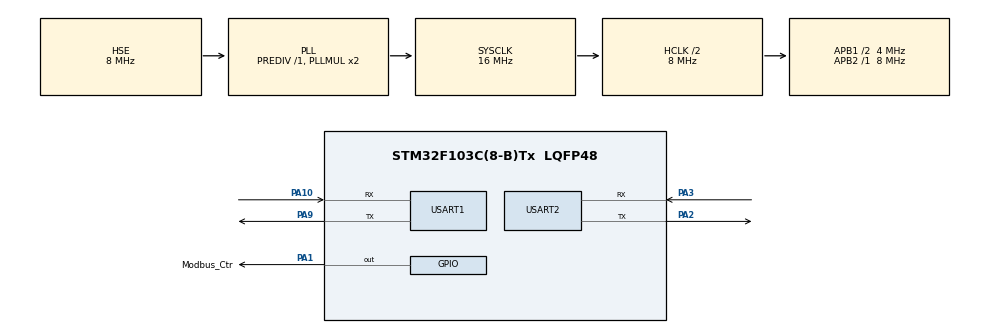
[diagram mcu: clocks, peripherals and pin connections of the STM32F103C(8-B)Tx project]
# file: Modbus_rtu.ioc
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Mcu.Family=STM32F1
Mcu.Name=STM32F103C(8-B)Tx
Mcu.Package=LQFP48
NVIC.PriorityGroup=NVIC_PRIORITYGROUP_4
NVIC.USART2_IRQn=true\:0\:0\:false\:false\:true\:true\:true
PA1.GPIO_Label=Modbus_Ctr
PA1.Signal=GPIO_Output
PA10.Mode=Asynchronous
PA10.Signal=USART1_RX
PA13.Mode=Serial_Wire
PA13.Signal=SYS_JTMS-SWDIO
PA14.Mode=Serial_Wire
PA14.Signal=SYS_JTCK-SWCLK
PA2.Mode=Asynchronous
PA2.Signal=USART2_TX
PA3.Mode=Asynchronous
PA3.Signal=USART2_RX
PA9.Mode=Asynchronous
PA9.Signal=USART1_TX
PD0-OSC_IN.Mode=HSE-External-Oscillator
PD0-OSC_IN.Signal=RCC_OSC_IN
PD1-OSC_OUT.Mode=HSE-External-Oscillator
PD1-OSC_OUT.Signal=RCC_OSC_OUT
ProjectManager.HeapSize=0x200
ProjectManager.StackSize=0x400
ProjectManager.TargetToolchain=STM32CubeIDE
RCC.AHBCLKDivider=RCC_SYSCLK_DIV2
RCC.AHBFreq_Value=8000000
RCC.APB1CLKDivider=RCC_HCLK_DIV2
RCC.APB1Freq_Value=4000000
RCC.APB1TimFreq_Value=8000000
RCC.APB2Freq_Value=8000000
RCC.APB2TimFreq_Value=8000000
RCC.HCLKFreq_Value=8000000
RCC.PLLSourceVirtual=RCC_PLLSOURCE_HSE
RCC.SYSCLKFreq_VALUE=16000000
RCC.SYSCLKSource=RCC_SYSCLKSOURCE_PLLCLK
RCC.USBFreq_Value=16000000
USART1.VirtualMode=VM_ASYNC
USART2.VirtualMode=VM_ASYNC
board=custom

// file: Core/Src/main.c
/* USER CODE BEGIN Header */
/**
  ******************************************************************************
  * @file           : main.c
  * @brief          : Main program body
  ******************************************************************************
  * @attention
  *
  * Copyright (c) 2022 STMicroelectronics.
  * All rights reserved.
  *
  * This software is licensed under terms that can be found in the LICENSE file
  * in the root directory of this software component.
  * If no LICENSE file comes with this software, it is provided AS-IS.
  *
  ******************************************************************************
  */
/* USER CODE END Header */
#include "main.h"

/* USER CODE BEGIN Includes */
#include "modbus_rtu.h"
#include "RingBuffer.h"
extern ringbuffer_t 		vrts_ringbuffer_Data;
extern unsigned char data_buff[32];
extern modbusMessageCheck_t modbus_message_handle;
/* USER CODE END Includes */

UART_HandleTypeDef huart1;
UART_HandleTypeDef huart2;

void SystemClock_Config(void);
static void MX_GPIO_Init(void);
static void MX_USART2_UART_Init(void);
static void MX_USART1_UART_Init(void);
/* USER CODE BEGIN PFP */
unsigned char uart_rx_data[250];
unsigned char rx_byte;
unsigned char Post_Data = 0;
extern rd_rx_message_t *modbusRxMessage;
/* USER CODE END PFP */

/* USER CODE BEGIN 0 */
void HAL_UART_RxCpltCallback(UART_HandleTypeDef *huart)
{

	if(huart->Instance == USART2){
		ring_push_head(&vrts_ringbuffer_Data, (void*)(&rx_byte));
		HAL_UART_Receive_IT(&huart2, (uint8_t *) (&rx_byte), 1);
	}
}
/* USER CODE END 0 */

int main(void)
{

  /* MCU Configuration--------------------------------------------------------*/

  /* Reset of all peripherals, Initializes the Flash interface and the Systick. */
  HAL_Init();

  /* Configure the system clock */
  SystemClock_Config();

  /* Initialize all configured peripherals */
  MX_GPIO_Init();
  MX_USART2_UART_Init();
  MX_USART1_UART_Init();
  /* USER CODE BEGIN 2 */
  HAL_UART_Receive_IT(&huart2, (uint8_t *) (&rx_byte) , 1);

  ring_init(&vrts_ringbuffer_Data, RINGBUFFER_LEN, sizeof(uint8_t));
  modbusRxMessage = (rd_rx_message_t *) data_buff;
  /* USER CODE END 2 */

  /* Infinite loop */
  /* USER CODE BEGIN WHILE */
  while (1)
  {
	  //uartRead();
	  modbus_message_handle_(&vrts_ringbuffer_Data);
	  //HAL_Delay(500);

    /* USER CODE END WHILE */

  }
}

void SystemClock_Config(void)
{
  RCC_OscInitTypeDef RCC_OscInitStruct = {0};
  RCC_ClkInitTypeDef RCC_ClkInitStruct = {0};

  /** Initializes the RCC Oscillators according to the specified parameters
  * in the RCC_OscInitTypeDef structure.
  */
  RCC_OscInitStruct.OscillatorType = RCC_OSCILLATORTYPE_HSE;
  RCC_OscInitStruct.HSEState = RCC_HSE_ON;
  RCC_OscInitStruct.HSEPredivValue = RCC_HSE_PREDIV_DIV1;
  RCC_OscInitStruct.HSIState = RCC_HSI_ON;
  RCC_OscInitStruct.PLL.PLLState = RCC_PLL_ON;
  RCC_OscInitStruct.PLL.PLLSource = RCC_PLLSOURCE_HSE;
  RCC_OscInitStruct.PLL.PLLMUL = RCC_PLL_MUL2;
  if (HAL_RCC_OscConfig(&RCC_OscInitStruct) != HAL_OK)
  {
    Error_Handler();
  }
  /** Initializes the CPU, AHB and APB buses clocks
  */
  RCC_ClkInitStruct.ClockType = RCC_CLOCKTYPE_HCLK|RCC_CLOCKTYPE_SYSCLK
                              |RCC_CLOCKTYPE_PCLK1|RCC_CLOCKTYPE_PCLK2;
  RCC_ClkInitStruct.SYSCLKSource = RCC_SYSCLKSOURCE_PLLCLK;
  RCC_ClkInitStruct.AHBCLKDivider = RCC_SYSCLK_DIV2;
  RCC_ClkInitStruct.APB1CLKDivider = RCC_HCLK_DIV2;
  RCC_ClkInitStruct.APB2CLKDivider = RCC_HCLK_DIV1;

  if (HAL_RCC_ClockConfig(&RCC_ClkInitStruct, FLASH_LATENCY_0) != HAL_OK)
  {
    Error_Handler();
  }
}

static void MX_USART1_UART_Init(void)
{

  huart1.Instance = USART1;
  huart1.Init.BaudRate = 115200;
  huart1.Init.WordLength = UART_WORDLENGTH_8B;
  huart1.Init.StopBits = UART_STOPBITS_1;
  huart1.Init.Parity = UART_PARITY_NONE;
  huart1.Init.Mode = UART_MODE_TX_RX;
  huart1.Init.HwFlowCtl = UART_HWCONTROL_NONE;
  huart1.Init.OverSampling = UART_OVERSAMPLING_16;
  if (HAL_UART_Init(&huart1) != HAL_OK)
  {
    Error_Handler();
  }

}

static void MX_USART2_UART_Init(void)
{

  huart2.Instance = USART2;
  huart2.Init.BaudRate = 115200;
  huart2.Init.WordLength = UART_WORDLENGTH_8B;
  huart2.Init.StopBits = UART_STOPBITS_1;
  huart2.Init.Parity = UART_PARITY_NONE;
  huart2.Init.Mode = UART_MODE_TX_RX;
  huart2.Init.HwFlowCtl = UART_HWCONTROL_NONE;
  huart2.Init.OverSampling = UART_OVERSAMPLING_16;
  if (HAL_UART_Init(&huart2) != HAL_OK)
  {
    Error_Handler();
  }
}

static void MX_GPIO_Init(void)
{
  GPIO_InitTypeDef GPIO_InitStruct = {0};
  /* GPIO Ports Clock Enable */
  __HAL_RCC_GPIOD_CLK_ENABLE();
  __HAL_RCC_GPIOA_CLK_ENABLE();

  /*Configure GPIO pin Output Level */
  HAL_GPIO_WritePin(Modbus_Ctr_GPIO_Port, Modbus_Ctr_Pin, GPIO_PIN_RESET);

  /*Configure GPIO pin : Modbus_Ctr_Pin */
  GPIO_InitStruct.Pin = Modbus_Ctr_Pin;
  GPIO_InitStruct.Mode = GPIO_MODE_OUTPUT_PP;
  GPIO_InitStruct.Pull = GPIO_NOPULL;
  GPIO_InitStruct.Speed = GPIO_SPEED_FREQ_LOW;
  HAL_GPIO_Init(Modbus_Ctr_GPIO_Port, &GPIO_InitStruct);
}

void Error_Handler(void)
{
  __disable_irq();
  while (1)
  {
  }
}
